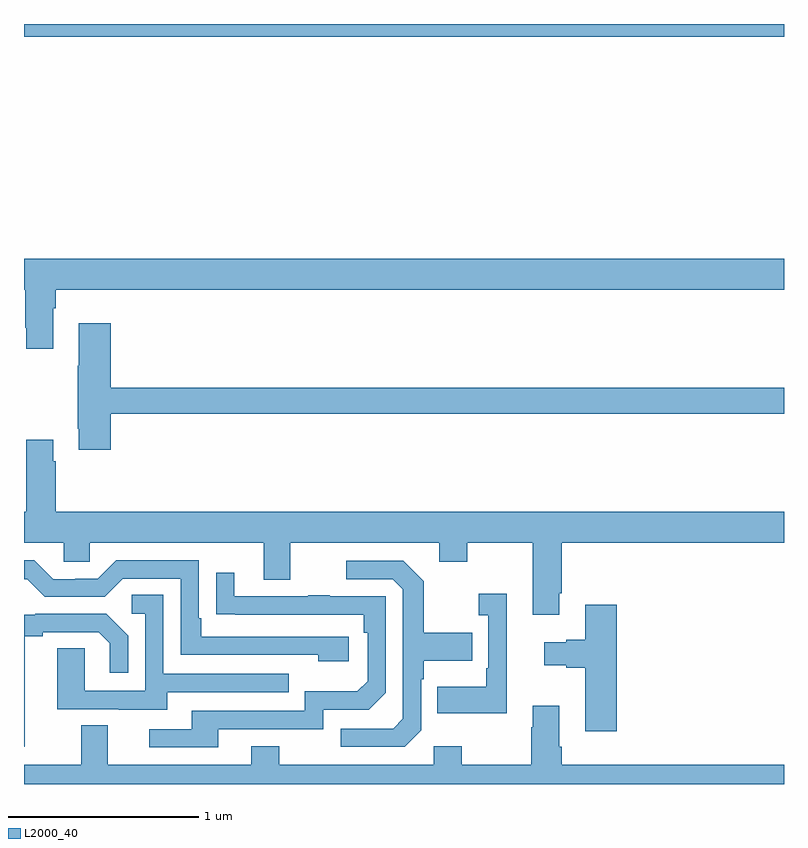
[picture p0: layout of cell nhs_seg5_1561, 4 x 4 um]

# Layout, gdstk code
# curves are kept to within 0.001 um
import gdstk
lib = gdstk.Library(unit=1e-6, precision=1e-09)
def R(c, l, rs):  # rectangles x0, y0, x1, y1
    for r in rs: c.add(gdstk.rectangle(r[:2], r[2:], *l))
def P(c, l, *ps):  # polygons
    for p in ps: c.add(gdstk.Polygon(p, *l))
L2000_40 = (2000, 40)

nhs_seg5_1561 = lib.new_cell('nhs_seg5_1561')
R(nhs_seg5_1561, L2000_40, [(205,884.732,209,884.799)])
P(nhs_seg5_1561, L2000_40, [(205.153,883.304),(205.166,883.304),(205.166,883.4),(209,883.4),(209,883.564),(205,883.564),(205,883.4),(205.006,883.4),(205.006,883.201),(205.013,883.201),(205.013,883.089),(205.153,883.089)],
  [(205.457,882.748),(209,882.748),(209,882.884),(205.457,882.884),(205.457,883.225),(205.289,883.225),(205.289,883.001),(205.282,883.001),(205.282,882.67),(205.289,882.67),(205.289,882.558),(205.457,882.558)],
  [(207.817,881.803),(207.83,881.803),(207.83,882.068),(209,882.068),(209,882.232),(205.166,882.232),(205.166,882.497),(205.153,882.497),(205.153,882.61),(205.013,882.61),(205.013,882.232),(205,882.232),(205,882.068),(205.209,882.068),(205.209,881.97),(205.347,881.97),(205.347,882.068),(206.261,882.068),(206.261,881.874),(206.401,881.874),(206.401,882.068),(207.185,882.068),(207.185,881.969),(207.333,881.969),(207.333,882.068),(207.677,882.068),(207.677,881.691),(207.817,881.691)],
  [(206.71,881.574),(205.933,881.574),(205.933,881.671),(205.92,881.671),(205.92,881.976),(205.485,881.976),(205.389,881.88),(205.271,881.88),(205.271,881.877),(205.155,881.877),(205.055,881.977),(205,881.977),(205,881.877),(205.017,881.877),(205.11,881.784),(205.425,881.784),(205.521,881.88),(205.824,881.88),(205.824,881.478),(206.549,881.478),(206.549,881.444),(206.71,881.444)],
  [(207.09,881.082),(207.09,881.351),(207.103,881.351),(207.103,881.447),(207.359,881.447),(207.359,881.595),(207.103,881.595),(207.103,881.867),(206.997,881.973),(206.697,881.973),(206.697,881.877),(206.94,881.877),(206.994,881.823),(206.994,881.142),(206.943,881.091),(206.667,881.091),(206.667,880.995),(207.003,880.995)],
  [(206.023,881.088),(206.574,881.088),(206.574,881.19),(206.814,881.19),(206.904,881.28),(206.904,881.787),(206.609,881.787),(206.609,881.792),(206.497,881.792),(206.497,881.787),(206.107,881.787),(206.107,881.911),(206.011,881.911),(206.011,881.692),(206.788,881.691),(206.788,881.594),(206.808,881.594),(206.808,881.34),(206.755,881.287),(206.478,881.287),(206.478,881.184),(205.883,881.184),(205.883,881.088),(205.659,881.088),(205.659,880.992),(206.023,880.992)],
  [(207.542,881.8),(207.393,881.8),(207.393,881.687),(207.444,881.687),(207.444,881.407),(207.432,881.407),(207.432,881.311),(207.175,881.311),(207.175,881.171),(207.542,881.171)],
  [(205.753,881.283),(206.393,881.283),(206.393,881.379),(205.734,881.379),(205.734,881.795),(205.566,881.795),(205.566,881.694),(205.638,881.694),(205.638,881.289),(205.32,881.289),(205.32,881.513),(205.175,881.513),(205.175,881.193),(205.499,881.193),(205.499,881.189),(205.753,881.189)],
  [(208.121,881.743),(207.953,881.743),(207.953,881.558),(207.854,881.558),(207.854,881.545),(207.738,881.545),(207.738,881.423),(207.854,881.423),(207.854,881.411),(207.953,881.411),(207.953,881.076),(208.121,881.076)],
  [(205.003,881.576),(205.099,881.576),(205.099,881.598),(205.394,881.598),(205.451,881.541),(205.451,881.385),(205.548,881.385),(205.548,881.578),(205.432,881.694),(205.06,881.694),(205.06,881.691),(205,881.691),(205,880.995),(205.003,880.995)],
  [(209,880.9),(207.83,880.9),(207.83,880.996),(207.817,880.996),(207.817,881.212),(207.677,881.212),(207.677,881.099),(207.67,881.099),(207.67,880.9),(207.303,880.9),(207.303,880.999),(207.156,880.999),(207.156,880.9),(206.343,880.9),(206.343,880.999),(206.195,880.999),(206.195,880.9),(205.441,880.9),(205.441,881.108),(205.301,881.108),(205.301,880.9),(205,880.9),(205,880.799),(209,880.799)])

lib.write_gds('nhs_seg5_1561.gds')
